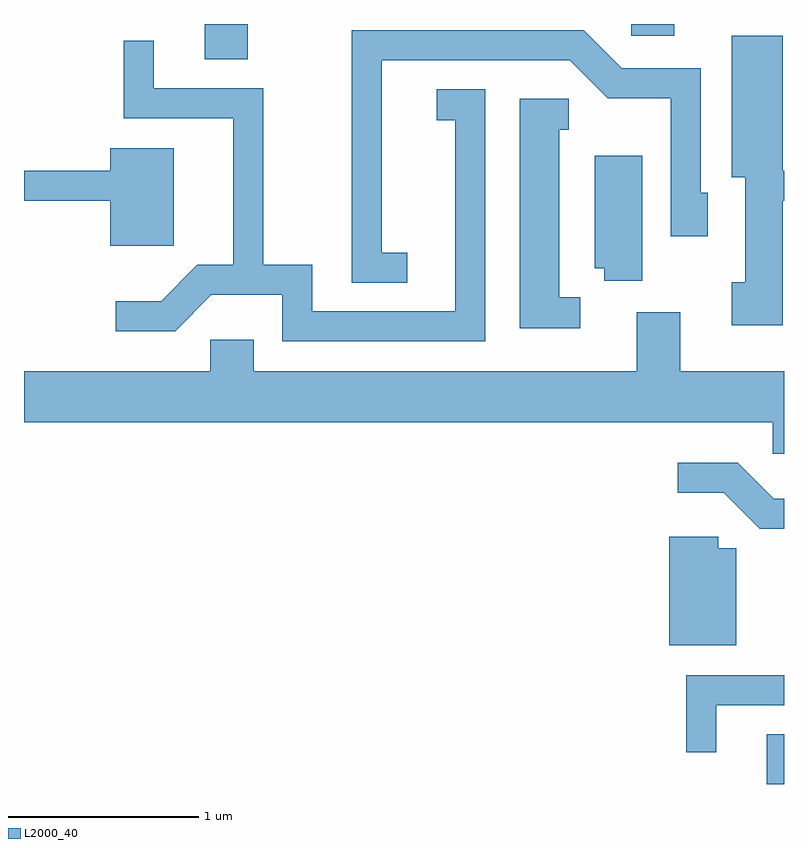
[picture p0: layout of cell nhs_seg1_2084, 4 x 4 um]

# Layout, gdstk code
import gdstk
lib = gdstk.Library(unit=1e-6, precision=1e-09)
def R(c, l, rs):  # rectangles x0, y0, x1, y1
    for r in rs: c.add(gdstk.rectangle(r[:2], r[2:], *l))
def P(c, l, *ps):  # polygons
    for p in ps: c.add(gdstk.Polygon(p, *l))
L2000_40 = (2000, 40)

nhs_seg1_2084 = lib.new_cell('nhs_seg1_2084')
R(nhs_seg1_2084, L2000_40, [(253.521,857.712,253.611,857.974), (250.561,861.526,250.789,861.712), (252.806,861.651,253.034,861.712)])
P(nhs_seg1_2084, L2000_40, [(251.628,860.509),(251.494,860.509),(251.494,861.521),(252.484,861.521),(252.684,861.321),(253.016,861.321),(253.016,860.596),(253.209,860.596),(253.209,860.824),(253.174,860.824),(253.174,861.479),(252.757,861.479),(252.557,861.679),(251.336,861.679),(251.336,860.351),(251.628,860.351)],
  [(253.604,860.781),(253.611,860.781),(253.611,860.939),(253.604,860.939),(253.604,861.649),(253.336,861.649),(253.336,860.906),(253.406,860.906),(253.406,860.354),(253.336,860.354),(253.336,860.126),(253.604,860.126)],
  [(252.039,861.369),(251.783,861.369),(251.783,861.206),(251.881,861.206),(251.881,860.199),(251.129,860.199),(251.129,860.444),(250.869,860.444),(250.869,861.374),(250.294,861.374),(250.294,861.623),(250.136,861.623),(250.136,861.216),(250.711,861.216),(250.711,860.444),(250.524,860.444),(250.334,860.254),(250.093,860.254),(250.093,860.096),(250.407,860.096),(250.597,860.286),(250.971,860.286),(250.971,860.041),(252.039,860.041)],
  [(252.538,860.274),(252.429,860.274),(252.429,861.156),(252.478,861.156),(252.478,861.319),(252.221,861.319),(252.221,860.111),(252.538,860.111)],
  [(250.399,861.059),(250.066,861.059),(250.066,860.939),(249.611,860.939),(249.611,860.781),(250.066,860.781),(250.066,860.546),(250.399,860.546)],
  [(252.864,861.019),(252.616,861.019),(252.616,860.426),(252.666,860.426),(252.666,860.361),(252.864,860.361)],
  [(253.611,859.884),(253.064,859.884),(253.064,860.194),(252.836,860.194),(252.836,859.884),(250.819,859.884),(250.819,860.049),(250.591,860.049),(250.591,859.884),(249.611,859.884),(249.611,859.616),(253.551,859.616),(253.551,859.451),(253.611,859.451)],
  [(253.611,859.214),(253.557,859.214),(253.367,859.404),(253.053,859.404),(253.053,859.246),(253.294,859.246),(253.484,859.056),(253.611,859.056)],
  [(253.359,858.954),(253.264,858.954),(253.264,859.014),(253.006,859.014),(253.006,858.441),(253.359,858.441)],
  [(253.254,858.126),(253.611,858.126),(253.611,858.284),(253.096,858.284),(253.096,857.878),(253.254,857.878)])

lib.write_gds('nhs_seg1_2084.gds')
